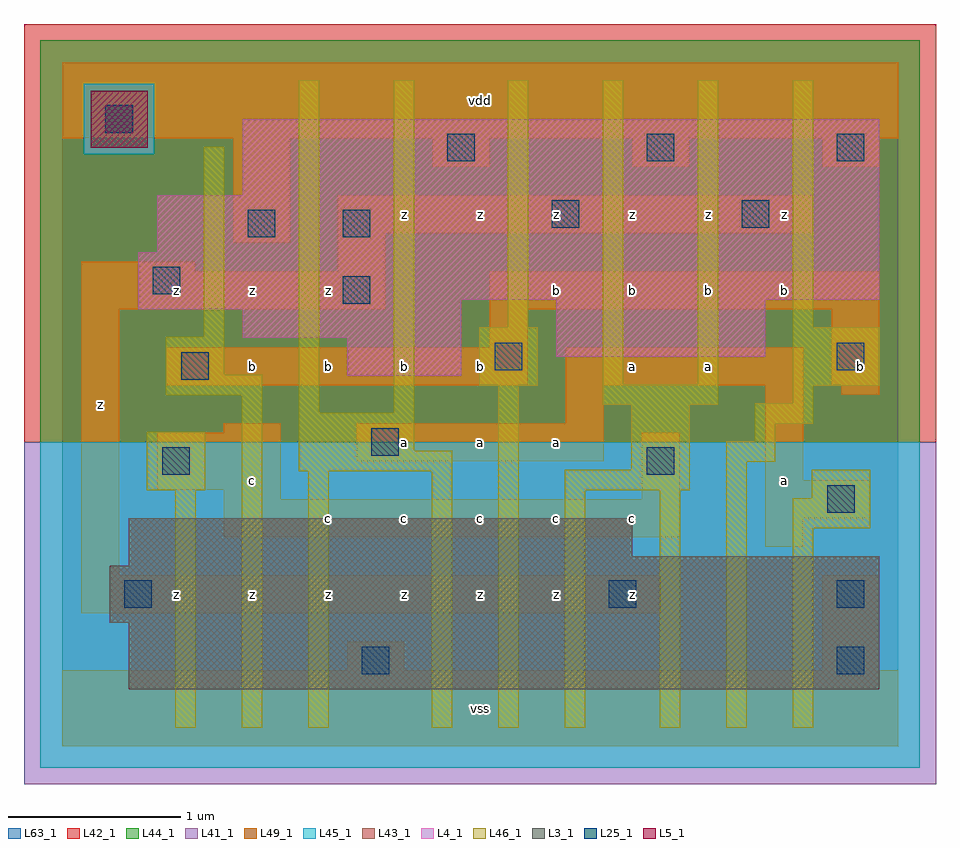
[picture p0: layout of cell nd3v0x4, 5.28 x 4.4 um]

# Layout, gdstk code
import gdstk
lib = gdstk.Library(unit=1e-6, precision=1e-09)
def R(c, l, rs):  # rectangles x0, y0, x1, y1
    for r in rs: c.add(gdstk.rectangle(r[:2], r[2:], *l))
L3_1 = (3, 1)
L4_1 = (4, 1)
L5_1 = (5, 1)
L25_1 = (25, 1)
L41_1 = (41, 1)
L42_1 = (42, 1)
L43_1 = (43, 1)
L44_1 = (44, 1)
L45_1 = (45, 1)
L46_1 = (46, 1)
L49_1 = (49, 1)
L63_1 = (63, 1)

nd3v0x4 = lib.new_cell('nd3v0x4')
R(nd3v0x4, L3_1, [(0.385,0.33,4.73,0.715), (0.275,0.715,4.73,1.045), (0.385,1.045,4.73,1.1), (0.385,1.1,3.3,1.32)])
R(nd3v0x4, L4_1, [(1.65,2.145,2.31,2.365), (2.86,2.255,4.07,2.585), (1.045,2.365,2.31,2.53), (0.44,2.53,2.31,2.585), (0.44,2.585,4.73,2.86), (0.55,2.86,4.73,3.19), (1.045,3.19,4.73,3.63)])
R(nd3v0x4, L5_1, [(0.165,3.465,0.495,3.795)])
R(nd3v0x4, L25_1, [(1.735,0.415,1.895,0.575), (4.485,0.415,4.645,0.575), (0.36,0.8,0.52,0.96), (3.165,0.8,3.325,0.96), (4.485,0.8,4.645,0.96), (4.43,1.35,4.59,1.51), (0.58,1.57,0.74,1.73), (3.385,1.57,3.545,1.73), (1.79,1.68,1.95,1.84), (0.69,2.12,0.85,2.28), (2.505,2.175,2.665,2.335), (4.485,2.175,4.645,2.335), (1.625,2.56,1.785,2.72), (0.525,2.615,0.685,2.775), (1.075,2.945,1.235,3.105), (1.625,2.945,1.785,3.105), (2.835,3,2.995,3.16), (3.935,3,4.095,3.16), (2.23,3.385,2.39,3.545), (3.385,3.385,3.545,3.545), (4.485,3.385,4.645,3.545), (0.25,3.55,0.41,3.71)])
R(nd3v0x4, L41_1, [(-0.22,-0.22,5.06,1.76)])
R(nd3v0x4, L42_1, [(-0.22,1.76,5.06,4.18)])
R(nd3v0x4, L43_1, [(0.385,0.33,4.73,0.715), (0.275,0.715,4.73,1.045), (0.385,1.045,4.73,1.1), (0.385,1.1,3.3,1.32), (1.65,2.145,2.31,2.365), (2.86,2.255,4.07,2.585), (1.045,2.365,2.31,2.53), (0.44,2.53,2.31,2.585), (0.44,2.585,4.73,2.86), (0.55,2.86,4.73,3.19), (1.045,3.19,4.73,3.63), (0.165,3.465,0.495,3.795)])
R(nd3v0x4, L44_1, [(-0.125,1.76,4.965,3.425), (-0.125,3.425,0.125,3.835), (0.535,3.425,4.965,3.835), (-0.125,3.835,4.965,4.085)])
R(nd3v0x4, L45_1, [(-0.125,-0.125,4.965,1.76), (0.125,3.425,0.535,3.835)])
R(nd3v0x4, L46_1, [(0.655,0.105,0.775,1.48), (1.04,0.105,1.16,2.03), (1.425,0.105,1.545,1.59), (2.14,0.105,2.26,1.59), (2.525,0.105,2.645,2.085), (2.91,0.105,3.03,1.48), (3.46,0.105,3.58,1.48), (3.845,0.105,3.965,1.645), (4.23,0.105,4.35,1.26), (4.23,1.26,4.68,1.435), (4.34,1.435,4.68,1.6), (0.49,1.48,0.83,1.82), (2.91,1.48,3.635,1.6), (1.37,1.59,2.26,1.71), (3.295,1.6,3.635,1.975), (3.845,1.645,4.13,1.765), (1.37,1.71,2.04,1.93), (4.01,1.765,4.13,1.865), (4.01,1.865,4.35,1.985), (1.37,1.93,1.49,3.855), (1.92,1.93,2.04,3.855), (3.13,1.975,3.8,2.095), (4.23,1.985,4.35,2.085), (0.6,2.03,1.16,2.15), (2.415,2.085,2.755,2.425), (4.23,2.085,4.735,2.425), (3.13,2.095,3.25,3.855), (3.68,2.095,3.8,3.855), (0.6,2.15,0.94,2.37), (0.82,2.37,0.94,3.47), (2.58,2.425,2.7,3.855), (4.23,2.425,4.35,3.855)])
R(nd3v0x4, L49_1, [(0,0,4.84,0.44), (1.65,0.44,1.98,0.605), (4.4,0.44,4.73,0.99), (0.11,0.77,3.465,0.99), (0.11,0.99,0.33,2.53), (4.07,1.155,4.29,1.32), (0.935,1.21,3.575,1.43), (4.07,1.32,4.675,1.54), (0.935,1.43,1.265,1.485), (3.355,1.43,3.575,1.815), (0.55,1.485,1.265,1.815), (4.07,1.54,4.29,2.09), (1.705,1.65,3.135,1.87), (0.935,1.815,1.265,1.87), (2.915,1.87,3.135,2.09), (4.51,2.035,4.73,2.09), (0.605,2.09,2.695,2.31), (2.915,2.09,4.29,2.31), (4.455,2.09,4.73,2.53), (2.475,2.31,2.695,2.53), (0.11,2.53,1.87,2.75), (2.475,2.53,4.73,2.75), (0.11,2.75,0.77,2.805), (1.595,2.75,1.87,2.97), (0.99,2.915,1.32,3.52), (1.595,2.97,4.345,3.19), (2.145,3.355,2.475,3.52), (3.3,3.355,3.63,3.52), (4.4,3.355,4.73,3.52), (0,3.52,4.84,3.96)])
R(nd3v0x4, L63_1, [(0,0,4.84,3.96)])
nd3v0x4.add(gdstk.Label('z', (0.66,0.88), layer=49, texttype=1))
nd3v0x4.add(gdstk.Label('z', (0.22,1.98), layer=49, texttype=1))
nd3v0x4.add(gdstk.Label('z', (0.66,2.64), layer=49, texttype=1))
nd3v0x4.add(gdstk.Label('z', (1.1,0.88), layer=49, texttype=1))
nd3v0x4.add(gdstk.Label('z', (1.54,0.88), layer=49, texttype=1))
nd3v0x4.add(gdstk.Label('c', (1.54,1.32), layer=49, texttype=1))
nd3v0x4.add(gdstk.Label('c', (1.1,1.54), layer=49, texttype=1))
nd3v0x4.add(gdstk.Label('b', (1.1,2.2), layer=49, texttype=1))
nd3v0x4.add(gdstk.Label('b', (1.54,2.2), layer=49, texttype=1))
nd3v0x4.add(gdstk.Label('z', (1.1,2.64), layer=49, texttype=1))
nd3v0x4.add(gdstk.Label('z', (1.54,2.64), layer=49, texttype=1))
nd3v0x4.add(gdstk.Label('vss', (2.42,0.22), layer=49, texttype=1))
nd3v0x4.add(gdstk.Label('z', (2.42,0.88), layer=49, texttype=1))
nd3v0x4.add(gdstk.Label('z', (1.98,0.88), layer=49, texttype=1))
nd3v0x4.add(gdstk.Label('c', (1.98,1.32), layer=49, texttype=1))
nd3v0x4.add(gdstk.Label('c', (2.42,1.32), layer=49, texttype=1))
nd3v0x4.add(gdstk.Label('a', (2.42,1.76), layer=49, texttype=1))
nd3v0x4.add(gdstk.Label('a', (1.98,1.76), layer=49, texttype=1))
nd3v0x4.add(gdstk.Label('b', (1.98,2.2), layer=49, texttype=1))
nd3v0x4.add(gdstk.Label('b', (2.42,2.2), layer=49, texttype=1))
nd3v0x4.add(gdstk.Label('z', (2.42,3.08), layer=49, texttype=1))
nd3v0x4.add(gdstk.Label('z', (1.98,3.08), layer=49, texttype=1))
nd3v0x4.add(gdstk.Label('vdd', (2.42,3.74), layer=49, texttype=1))
nd3v0x4.add(gdstk.Label('z', (3.3,0.88), layer=49, texttype=1))
nd3v0x4.add(gdstk.Label('z', (2.86,0.88), layer=49, texttype=1))
nd3v0x4.add(gdstk.Label('c', (2.86,1.32), layer=49, texttype=1))
nd3v0x4.add(gdstk.Label('c', (3.3,1.32), layer=49, texttype=1))
nd3v0x4.add(gdstk.Label('a', (2.86,1.76), layer=49, texttype=1))
nd3v0x4.add(gdstk.Label('a', (3.3,2.2), layer=49, texttype=1))
nd3v0x4.add(gdstk.Label('a', (3.74,2.2), layer=49, texttype=1))
nd3v0x4.add(gdstk.Label('b', (2.86,2.64), layer=49, texttype=1))
nd3v0x4.add(gdstk.Label('b', (3.3,2.64), layer=49, texttype=1))
nd3v0x4.add(gdstk.Label('b', (3.74,2.64), layer=49, texttype=1))
nd3v0x4.add(gdstk.Label('z', (3.3,3.08), layer=49, texttype=1))
nd3v0x4.add(gdstk.Label('z', (3.74,3.08), layer=49, texttype=1))
nd3v0x4.add(gdstk.Label('z', (2.86,3.08), layer=49, texttype=1))
nd3v0x4.add(gdstk.Label('a', (4.18,1.54), layer=49, texttype=1))
nd3v0x4.add(gdstk.Label('b', (4.62,2.2), layer=49, texttype=1))
nd3v0x4.add(gdstk.Label('b', (4.18,2.64), layer=49, texttype=1))
nd3v0x4.add(gdstk.Label('z', (4.18,3.08), layer=49, texttype=1))

lib.write_gds('nd3v0x4.gds')
